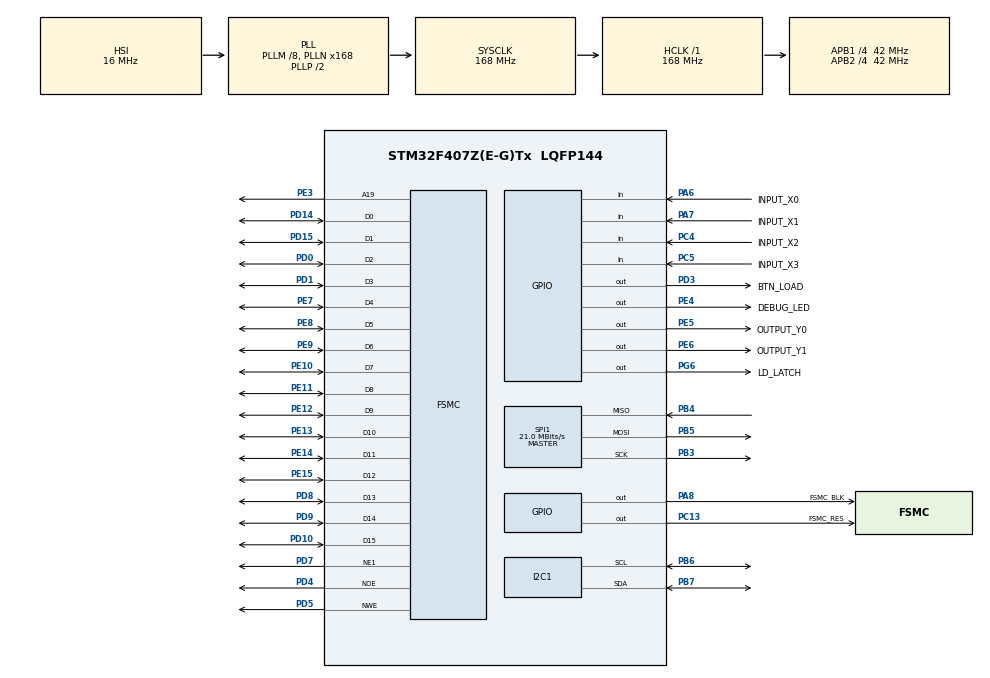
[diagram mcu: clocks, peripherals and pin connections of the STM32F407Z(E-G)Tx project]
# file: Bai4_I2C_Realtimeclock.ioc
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FSMC.AddressSetupTime1=0xf
FSMC.BusTurnAroundDuration1=0
FSMC.DataSetupTime1=60
FSMC.ExtendedAddressSetupTime1=8
FSMC.ExtendedBusTurnAroundDuration1=0
FSMC.ExtendedDataSetupTime1=9
FSMC.ExtendedMode1=FSMC_EXTENDED_MODE_ENABLE
I2C1.I2C_Mode=I2C_Standard
Mcu.Family=STM32F4
Mcu.Name=STM32F407Z(E-G)Tx
Mcu.Package=LQFP144
NVIC.PriorityGroup=NVIC_PRIORITYGROUP_4
NVIC.TIM2_IRQn=true\:0\:0\:false\:false\:true\:true\:true
PA13.Mode=Serial_Wire
PA13.Signal=SYS_JTMS-SWDIO
PA14.Mode=Serial_Wire
PA14.Signal=SYS_JTCK-SWCLK
PA6.GPIO_Label=INPUT_X0
PA6.Signal=GPIO_Input
PA7.GPIO_Label=INPUT_X1
PA7.Signal=GPIO_Input
PA8.GPIO_Label=FSMC_BLK
PA8.Signal=GPIO_Output
PB3.Mode=Full_Duplex_Master
PB3.Signal=SPI1_SCK
PB4.Mode=Full_Duplex_Master
PB4.Signal=SPI1_MISO
PB5.Mode=Full_Duplex_Master
PB5.Signal=SPI1_MOSI
PB6.Mode=I2C
PB6.Signal=I2C1_SCL
PB7.Mode=I2C
PB7.Signal=I2C1_SDA
PC13-ANTI_TAMP.GPIO_Label=FSMC_RES
PC13-ANTI_TAMP.Signal=GPIO_Output
PC4.GPIO_Label=INPUT_X2
PC4.Signal=GPIO_Input
PC5.GPIO_Label=INPUT_X3
PC5.Signal=GPIO_Input
PD0.Signal=FSMC_D2_DA2
PD1.Signal=FSMC_D3_DA3
PD10.Signal=FSMC_D15_DA15
PD14.Signal=FSMC_D0_DA0
PD15.Signal=FSMC_D1_DA1
PD3.GPIO_Label=BTN_LOAD
PD3.Signal=GPIO_Output
PD4.Signal=FSMC_NOE
PD5.Signal=FSMC_NWE
PD7.Mode=NorPsramChipSelect1_1
PD7.Signal=FSMC_NE1
PD8.Signal=FSMC_D13_DA13
PD9.Signal=FSMC_D14_DA14
PE10.Signal=FSMC_D7_DA7
PE11.Signal=FSMC_D8_DA8
PE12.Signal=FSMC_D9_DA9
PE13.Signal=FSMC_D10_DA10
PE14.Signal=FSMC_D11_DA11
PE15.Signal=FSMC_D12_DA12
PE3.Signal=FSMC_A19
PE4.GPIO_Label=DEBUG_LED
PE4.Signal=GPIO_Output
PE5.GPIO_Label=OUTPUT_Y0
PE5.Signal=GPIO_Output
PE6.GPIO_Label=OUTPUT_Y1
PE6.Signal=GPIO_Output
PE7.Signal=FSMC_D4_DA4
PE8.Signal=FSMC_D5_DA5
PE9.Signal=FSMC_D6_DA6
PG6.GPIO_Label=LD_LATCH
PG6.Signal=GPIO_Output
PH0-OSC_IN.Mode=HSE-External-Oscillator
PH0-OSC_IN.Signal=RCC_OSC_IN
PH1-OSC_OUT.Mode=HSE-External-Oscillator
PH1-OSC_OUT.Signal=RCC_OSC_OUT
ProjectManager.HeapSize=0x200
ProjectManager.StackSize=0x400
ProjectManager.TargetToolchain=STM32CubeIDE
RCC.48MHZClocksFreq_Value=84000000
RCC.AHBFreq_Value=168000000
RCC.APB1CLKDivider=RCC_HCLK_DIV4
RCC.APB1Freq_Value=42000000
RCC.APB1TimFreq_Value=84000000
RCC.APB2CLKDivider=RCC_HCLK_DIV4
RCC.APB2Freq_Value=42000000
RCC.APB2TimFreq_Value=84000000
RCC.CortexFreq_Value=168000000
RCC.HCLKFreq_Value=168000000
RCC.HSE_VALUE=8000000
RCC.HSI_VALUE=16000000
RCC.LSE_VALUE=32768
RCC.PLLM=8
RCC.PLLN=168
RCC.SYSCLKFreq_VALUE=168000000
RCC.SYSCLKSource=RCC_SYSCLKSOURCE_PLLCLK
RCC.VCOOutputFreq_Value=336000000
SH.FSMC_A19.0=FSMC_A19,A19_1
SH.FSMC_D0_DA0.0=FSMC_D0,16b-d1
SH.FSMC_D10_DA10.0=FSMC_D10,16b-d1
SH.FSMC_D11_DA11.0=FSMC_D11,16b-d1
SH.FSMC_D12_DA12.0=FSMC_D12,16b-d1
SH.FSMC_D13_DA13.0=FSMC_D13,16b-d1
SH.FSMC_D14_DA14.0=FSMC_D14,16b-d1
SH.FSMC_D15_DA15.0=FSMC_D15,16b-d1
SH.FSMC_D1_DA1.0=FSMC_D1,16b-d1
SH.FSMC_D2_DA2.0=FSMC_D2,16b-d1
SH.FSMC_D3_DA3.0=FSMC_D3,16b-d1
SH.FSMC_D4_DA4.0=FSMC_D4,16b-d1
SH.FSMC_D5_DA5.0=FSMC_D5,16b-d1
SH.FSMC_D6_DA6.0=FSMC_D6,16b-d1
SH.FSMC_D7_DA7.0=FSMC_D7,16b-d1
SH.FSMC_D8_DA8.0=FSMC_D8,16b-d1
SH.FSMC_D9_DA9.0=FSMC_D9,16b-d1
SH.FSMC_NOE.0=FSMC_NOE,Lcd1
SH.FSMC_NWE.0=FSMC_NWE,Lcd1
SPI1.BaudRatePrescaler=SPI_BAUDRATEPRESCALER_2
SPI1.CalculateBaudRate=21.0 MBits/s
SPI1.Direction=SPI_DIRECTION_2LINES
SPI1.Mode=SPI_MODE_MASTER
SPI1.VirtualType=VM_MASTER
TIM2.Period=100-1
TIM2.Prescaler=840-1
VP_TIM2_VS_ClockSourceINT.Mode=Internal
board=custom

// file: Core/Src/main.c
/* USER CODE BEGIN Header */
/**
  ******************************************************************************
  * @file           : main.c
  * @brief          : Main program body
  ******************************************************************************
  * @attention
  *
  * <h2><center>&copy; Copyright (c) 2023 STMicroelectronics.
  * All rights reserved.</center></h2>
  *
  * This software component is licensed by ST under BSD 3-Clause license,
  * the "License"; You may not use this file except in compliance with the
  * License. You may obtain a copy of the License at:
  *                        opensource.org/licenses/BSD-3-Clause
  *
  ******************************************************************************
  */
/* USER CODE END Header */
#include "main.h"
#include "i2c.h"
#include "spi.h"
#include "tim.h"
#include "gpio.h"
#include "fsmc.h"

/* USER CODE BEGIN Includes */
#include "software_timer.h"
#include "led_7seg.h"
#include "button.h"
#include "lcd.h"
#include "picture.h"
#include "ds3231.h"
/* USER CODE END Includes */

extern int status = 1  ;
int hour = 9 ;
int minute = 11 ;
int second = 23 ;
int alarm_second = 1 ;
int alarm_minute = 0 ;
int alarm_hour = 0 ;

/* USER CODE BEGIN PV */
uint8_t count_led_debug = 0;
/* USER CODE END PV */

void SystemClock_Config(void);
/* USER CODE BEGIN PFP */
void system_init();
void test_LedDebug();
void displayTime();
void updateTime();
/* USER CODE END PFP */

int main(void)
{

  /* MCU Configuration--------------------------------------------------------*/

  /* Reset of all peripherals, Initializes the Flash interface and the Systick. */
  HAL_Init();

  /* Configure the system clock */
  SystemClock_Config();

  /* Initialize all configured peripherals */
  MX_GPIO_Init();
  MX_TIM2_Init();
  MX_SPI1_Init();
  MX_FSMC_Init();
  MX_I2C1_Init();
  /* USER CODE BEGIN 2 */
  system_init();
  /* USER CODE END 2 */

  /* Infinite loop */
  /* USER CODE BEGIN WHILE */
 lcd_Clear(BLACK);
 updateTime();
  while (1)
  {
	 fsm_automatic_run() ;
	 fsm_mannual_run() ;
     alarm_timer_run() ;

    /* USER CODE END WHILE */

  }
}

void SystemClock_Config(void)
{
  RCC_OscInitTypeDef RCC_OscInitStruct = {0};
  RCC_ClkInitTypeDef RCC_ClkInitStruct = {0};

  /** Configure the main internal regulator output voltage
  */
  __HAL_RCC_PWR_CLK_ENABLE();
  __HAL_PWR_VOLTAGESCALING_CONFIG(PWR_REGULATOR_VOLTAGE_SCALE1);
  /** Initializes the RCC Oscillators according to the specified parameters
  * in the RCC_OscInitTypeDef structure.
  */
  RCC_OscInitStruct.OscillatorType = RCC_OSCILLATORTYPE_HSI;
  RCC_OscInitStruct.HSIState = RCC_HSI_ON;
  RCC_OscInitStruct.HSICalibrationValue = RCC_HSICALIBRATION_DEFAULT;
  RCC_OscInitStruct.PLL.PLLState = RCC_PLL_ON;
  RCC_OscInitStruct.PLL.PLLSource = RCC_PLLSOURCE_HSI;
  RCC_OscInitStruct.PLL.PLLM = 8;
  RCC_OscInitStruct.PLL.PLLN = 168;
  RCC_OscInitStruct.PLL.PLLP = RCC_PLLP_DIV2;
  RCC_OscInitStruct.PLL.PLLQ = 4;
  if (HAL_RCC_OscConfig(&RCC_OscInitStruct) != HAL_OK)
  {
    Error_Handler();
  }
  /** Initializes the CPU, AHB and APB buses clocks
  */
  RCC_ClkInitStruct.ClockType = RCC_CLOCKTYPE_HCLK|RCC_CLOCKTYPE_SYSCLK
                              |RCC_CLOCKTYPE_PCLK1|RCC_CLOCKTYPE_PCLK2;
  RCC_ClkInitStruct.SYSCLKSource = RCC_SYSCLKSOURCE_PLLCLK;
  RCC_ClkInitStruct.AHBCLKDivider = RCC_SYSCLK_DIV1;
  RCC_ClkInitStruct.APB1CLKDivider = RCC_HCLK_DIV4;
  RCC_ClkInitStruct.APB2CLKDivider = RCC_HCLK_DIV4;

  if (HAL_RCC_ClockConfig(&RCC_ClkInitStruct, FLASH_LATENCY_5) != HAL_OK)
  {
    Error_Handler();
  }
}

/* USER CODE BEGIN 4 */
void system_init(){
	  HAL_GPIO_WritePin(OUTPUT_Y0_GPIO_Port, OUTPUT_Y0_Pin, 0);
	  HAL_GPIO_WritePin(OUTPUT_Y1_GPIO_Port, OUTPUT_Y1_Pin, 0);
	  HAL_GPIO_WritePin(DEBUG_LED_GPIO_Port, DEBUG_LED_Pin, 0);
	  timer_init();
	  led7_init();
	  button_init();
	  lcd_init();
	  ds3231_init();
	  setTimer2(50);
	  setTimer3(0) ;
	  setTimer_MOD(500) ; // blink 2HZ
}

void test_LedDebug(){
	count_led_debug = (count_led_debug + 1)%20;
	if(count_led_debug == 0){
		HAL_GPIO_TogglePin(DEBUG_LED_GPIO_Port, DEBUG_LED_Pin);
	}
}

void fsm_automatic_run(){

  switch(status){

	case 1:
	  while(!flag_timer2);
		  flag_timer2 = 0;
		  button_Scan();
		  ds3231_ReadTime();
		  displayTime();
		  test_button() ;
		  break ;
  }

}

void alarm_timer_run(){

	 if(flag_timer_alarm == 1){
			 alarm_second-- ;
			 if((alarm_second == 0)&&(alarm_minute > 0)){
				 alarm_minute-- ;

				 if((alarm_minute == 0)&&(alarm_hour > 0)){
					 alarm_hour-- ;
					 alarm_minute = 59 ;
				 }
				 lcd_ShowIntNum(90, 70, alarm_minute, 2, RED, BLACK, 24);
				 alarm_second = 60 ;
			 }

			 flag_timer_alarm = 0 ;
			 lcd_ShowIntNum(140, 70, alarm_second, 2, RED, BLACK, 24);
		 }

		 if((alarm_second == 0)&&(alarm_minute==0)&&(alarm_hour == 0)){
			 alarm_second = 0 ;
			 setTimer_alarm(0);
			 lcd_StrCenter(0, 2, "TIME IS OVER !!!", RED, BLUE, 16, 1);
			 lcd_ShowIntNum(140, 70, alarm_second, 2, RED, BLACK, 24);
	     }

}

void fsm_mannual_run(){
	switch(status){
	case 2: // modify hour
		setTimer3(50) ;
		setTimer2(0) ;

        //blink hour 2Hz
		if(flag_timer_MOD == 0){lcd_ShowIntNum(70, 100, ds3231_hours, 2, GREEN, BLACK, 24); }
     	if(flag_timer_MOD == 1){flag_timer_MOD = 0 ;lcd_ShowIntNum(70, 100, ds3231_hours, 2, BLACK, BLACK, 24);}

		while(!flag_timer3);
				  flag_timer3 = 0;
				  button_Scan();
				  if(button_count[3] == 1){	hour = hour + 1;
				                            if(hour > 24){ hour = 1 ;}
				                            updateTime() ;
				                            ds3231_ReadTime();
				                            displayTime();      }

				  if(button_count[12] == 1){ status = 4 ; }
				  if(button_count[4] == 1){ status  = 5 ; }
				  test_button() ;
				  break ;

	case 3: //back to auto
		setTimer3(0);
		setTimer2(50);
		status = 1 ;
		break ;

	case 4:  // modify minute
		setTimer3(50) ;
		setTimer2(0) ;

		//blink minute 2HZ
		if(flag_timer_MOD == 0){lcd_ShowIntNum(110, 100, ds3231_min, 2, GREEN, BLACK, 24); }
     	if(flag_timer_MOD == 1){ flag_timer_MOD = 0 ; lcd_ShowIntNum(110, 100, ds3231_min, 2, BLACK, BLACK, 24);}

				while(!flag_timer3);
						  flag_timer3 = 0;
						  button_Scan();
						  if(button_count[3] == 1){	minute = minute + 1;
						                            if(minute > 60){minute = 1 ;}
						                            updateTime() ;
						                            ds3231_ReadTime();
						                            displayTime();}

						  if(button_count[12] == 1){ status = 4 ; }
						  test_button() ;
						  break ;

	case 5: //modify alarm second

		lcd_ShowIntNum(40, 70, alarm_hour, 2, RED, BLACK, 24);
		lcd_ShowIntNum(90, 70, alarm_minute, 2, RED, BLACK, 24);

		if(flag_timer_MOD == 0){lcd_ShowIntNum(140, 70, alarm_second, 2, RED, BLACK, 24); }
		if(flag_timer_MOD == 1){flag_timer_MOD = 0; lcd_ShowIntNum(140, 70, alarm_second, 2, BLACK, BLACK, 24);}
		while(!flag_timer3);
			flag_timer3 = 0;
		    button_Scan();
			if(button_count[3] == 1){ alarm_second++ ; if(alarm_second > 60){ alarm_second = 1 ; }  }
								  //ds3231_ReadTime();

								  if(button_count[12] == 1){ //alarm_num = alarm_num * 1000 ;
								  status = 6 ; }
								  test_button() ;
		                          break ;

	case 6:  //modify minute alarm
		lcd_ShowIntNum(140, 70, alarm_second, 2, RED, BLACK, 24);
		lcd_ShowIntNum(40, 70, alarm_hour, 2, RED, BLACK, 24);

		if(flag_timer_MOD == 0){lcd_ShowIntNum(90, 70, alarm_minute, 2, RED, BLACK, 24); }
	    if(flag_timer_MOD == 1){flag_timer_MOD = 0; lcd_ShowIntNum(90, 70, alarm_minute, 2, BLACK, BLACK, 24);}

		while(!flag_timer3);
			flag_timer3 = 0;
			button_Scan();
		    if(button_count[3] == 1){  alarm_minute++;  if(alarm_minute > 60){ alarm_minute = 1 ; }}

		    if(button_count[12] == 1){ 	status = 7 ;}
			test_button() ;

		break ;

	case 7://modify minute hour
		lcd_ShowIntNum(140, 70, alarm_second, 2, RED, BLACK, 24);
		lcd_ShowIntNum(90, 70, alarm_minute, 2, RED, BLACK, 24);

		if(flag_timer_MOD == 0){lcd_ShowIntNum(40, 70, alarm_hour, 2, RED, BLACK, 24); }
	    if(flag_timer_MOD == 1){flag_timer_MOD = 0; lcd_ShowIntNum(40, 70, alarm_hour, 2, BLACK, BLACK, 24);}

		while(!flag_timer3);
				flag_timer3 = 0;
				button_Scan();
				if(button_count[3] == 1){  alarm_hour++;  if(alarm_hour > 24){ alarm_hour = 1 ; }  }

				if(button_count[12] == 1){
											status = 3 ;
											lcd_ShowIntNum(40, 70, alarm_hour, 2, RED, BLACK, 24);
										    lcd_ShowIntNum(90, 70, alarm_minute, 2, RED, BLACK, 24);
											lcd_ShowIntNum(140, 70, alarm_second, 2, RED, BLACK, 24);
											setTimer_alarm(1000) ;}
			   test_button() ;

		break ;

	}
}

void test_7seg(){
	led7_SetDigit(0, 0, 0);
	led7_SetDigit(5, 1, 0);
	led7_SetDigit(4, 2, 0);
	led7_SetDigit(7, 3, 0);
}
void test_button(){
	for(int i = 0; i < 16; i++){

		if(button_count[0] == 1){	status = 2; }
		if(button_count[1] == 1){	status = 3; }

		//if(button_count[1] == 1){	setTimer2(50) ;}

		if(button_count[11] == 1){
			lcd_StrCenter(0, 2, "REAL TIME CLOCK !!!", RED, BLUE, 16, 1);
		}

		if(button_count[15] == 1){
					lcd_StrCenter(0, 2, "REAL TIME CLOCK !!!", WHITE, BLUE, 16, 1);
				}
	}
}

void updateTime(){
	ds3231_Write(ADDRESS_YEAR, 23);
	ds3231_Write(ADDRESS_MONTH, 11);
	ds3231_Write(ADDRESS_DATE, 16);
	ds3231_Write(ADDRESS_DAY, 5);
	ds3231_Write(ADDRESS_HOUR, hour);
	ds3231_Write(ADDRESS_MIN, minute);
	ds3231_Write(ADDRESS_SEC, second);
}

uint8_t isButtonUp()
{
    if (button_count[3] == 1)
        return 1;
    else
        return 0;
}
uint8_t isButtonDown()
{
    if (button_count[7] == 1)
        return 1;
    else
        return 0;
}
void displayTime(){
	lcd_ShowIntNum(70, 100, ds3231_hours, 2, GREEN, BLACK, 24);
	lcd_ShowIntNum(110, 100, ds3231_min, 2, GREEN, BLACK, 24);
	lcd_ShowIntNum(150, 100, ds3231_sec, 2, GREEN, BLACK, 24);
	lcd_ShowIntNum(20, 130, ds3231_day, 2, YELLOW, BLACK, 24);
	lcd_ShowIntNum(70, 130, ds3231_date, 2, YELLOW, BLACK, 24);
	lcd_ShowIntNum(110, 130, ds3231_month, 2, YELLOW, BLACK, 24);
	lcd_ShowIntNum(150, 130, ds3231_year, 2, YELLOW, BLACK, 24);
}
/* USER CODE END 4 */

void Error_Handler(void)
{
  __disable_irq();
  while (1)
  {
  }
}

/************************ (C) COPYRIGHT STMicroelectronics *****END OF FILE****/
